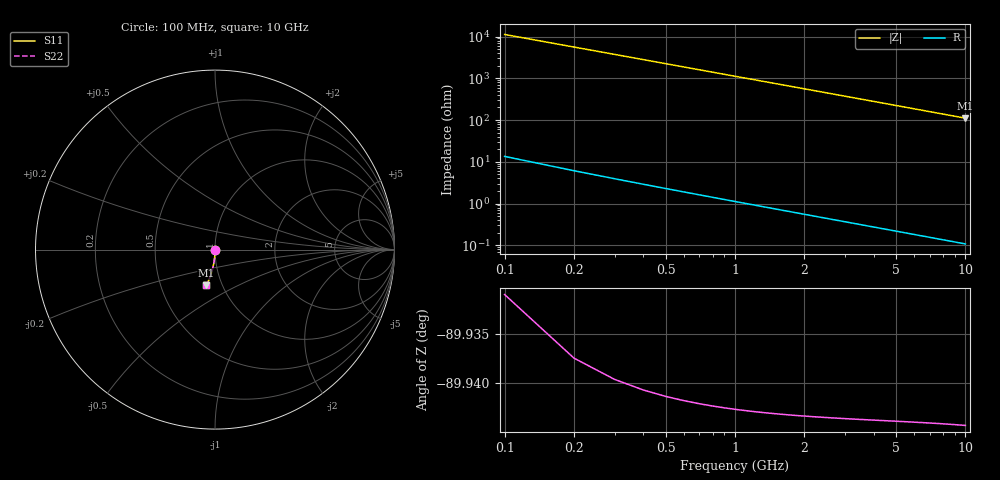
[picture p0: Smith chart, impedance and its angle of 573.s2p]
# Hz S RI R 50.00
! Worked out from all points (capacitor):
!   100 points, 100 MHz to 10 GHz, reference 50 ohm
!   read as one part in shunt: C = 142 fF near 100 MHz
!   lowest |Z| = 111 ohm at 10 GHz (marker M1)
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1e8  4.54e-05 -0.00208  0.9999 -0.00238  0.9999 -0.00238  4.54e-05 -0.00208
2e8  2.87e-05 -0.00415  0.9999 -0.00476  0.9999 -0.00476  2.87e-05 -0.00415
3e8  2.07e-06 -0.00623  0.9999 -0.00715  0.9999 -0.00715  2.07e-06 -0.00623
4e8  -3.45e-05 -0.00831  0.9999 -0.00953  0.9999 -0.00953  -3.45e-05 -0.00831
5e8  -8.1e-05 -0.0104  0.9998 -0.0119  0.9998 -0.0119  -8.1e-05 -0.0104
6e8  -0.000137 -0.0125  0.9998 -0.0143  0.9998 -0.0143  -0.000137 -0.0125
7e8  -0.000204 -0.0145  0.9997 -0.0167  0.9997 -0.0167  -0.000204 -0.0145
8e8  -0.00028 -0.0166  0.9996 -0.0191  0.9996 -0.0191  -0.00028 -0.0166
9e8  -0.000366 -0.0187  0.9995 -0.0214  0.9995 -0.0214  -0.000366 -0.0187
1.1e9  -0.000568 -0.0228  0.9993 -0.0262  0.9993 -0.0262  -0.000568 -0.0228
1.4e9  -0.000946 -0.0291  0.9989 -0.0333  0.9989 -0.0333  -0.000946 -0.0291
1.8e9  -0.00159 -0.0374  0.9983 -0.0429  0.9983 -0.0429  -0.00159 -0.0374
2.1e9  -0.00217 -0.0436  0.9977 -0.05  0.9977 -0.05  -0.00217 -0.0436
2.5e9  -0.00309 -0.0518  0.9968 -0.0595  0.9968 -0.0595  -0.00309 -0.0518
2.9e9  -0.00417 -0.0601  0.9957 -0.069  0.9957 -0.069  -0.00417 -0.0601
3.4e9  -0.00574 -0.0704  0.9941 -0.0808  0.9941 -0.0808  -0.00574 -0.0704
4.2e9  -0.00875 -0.0867  0.991 -0.0996  0.991 -0.0996  -0.00875 -0.0867
5.1e9  -0.0129 -0.105  0.9869 -0.1207  0.9869 -0.1207  -0.0129 -0.105
5.9e9  -0.0172 -0.121  0.9825 -0.1392  0.9825 -0.1392  -0.0172 -0.121
6.7e9  -0.0221 -0.1368  0.9775 -0.1575  0.9775 -0.1575  -0.0221 -0.1368
8.4e9  -0.0345 -0.1696  0.965 -0.1956  0.965 -0.1956  -0.0345 -0.1696
1e10  -0.0484 -0.1993  0.951 -0.2303  0.951 -0.2303  -0.0484 -0.1993
